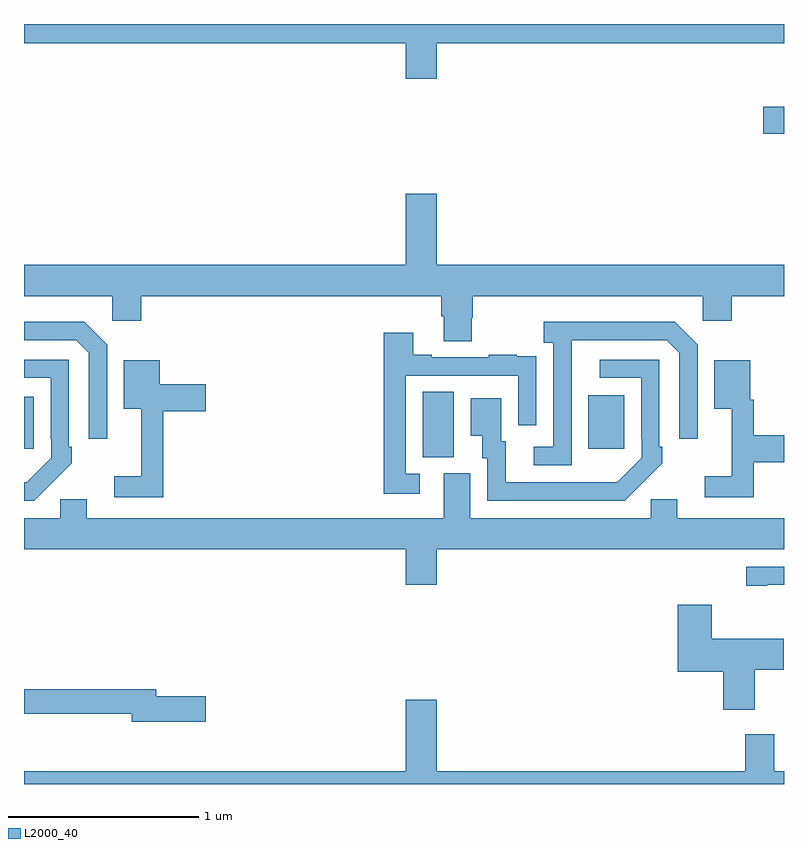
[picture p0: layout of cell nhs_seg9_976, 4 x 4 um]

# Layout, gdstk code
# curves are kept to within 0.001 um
import gdstk
lib = gdstk.Library(unit=1e-6, precision=1e-09)
def R(c, l, rs):  # rectangles x0, y0, x1, y1
    for r in rs: c.add(gdstk.rectangle(r[:2], r[2:], *l))
def P(c, l, *ps):  # polygons
    for p in ps: c.add(gdstk.Polygon(p, *l))
L2000_40 = (2000, 40)

nhs_seg9_976 = lib.new_cell('nhs_seg9_976')
R(nhs_seg9_976, L2000_40, [(165.098,1214.221,165.262,1214.564), (163,1214.265,163.051,1214.539), (165.971,1214.265,166.159,1214.545), (166.89,1215.923,167,1216.065)])
P(nhs_seg9_976, L2000_40, [(165.172,1216.4),(167,1216.4),(167,1216.5),(163,1216.5),(163,1216.4),(165.008,1216.4),(165.008,1216.212),(165.172,1216.212)],
  [(165.357,1214.955),(165.362,1214.955),(165.362,1215.068),(166.572,1215.068),(166.572,1214.937),(166.724,1214.937),(166.724,1215.068),(167,1215.068),(167,1215.232),(165.172,1215.232),(165.172,1215.607),(165.008,1215.607),(165.008,1215.232),(163,1215.232),(163,1215.068),(163.464,1215.068),(163.464,1214.937),(163.616,1214.937),(163.616,1215.068),(165.197,1215.068),(165.197,1214.962),(165.209,1214.962),(165.209,1214.83),(165.357,1214.83)],
  [(163.437,1214.811),(163.316,1214.932),(163,1214.932),(163,1214.835),(163.275,1214.835),(163.341,1214.769),(163.341,1214.316),(163.437,1214.316)],
  [(165.882,1214.835),(166.383,1214.835),(166.449,1214.769),(166.449,1214.316),(166.545,1214.316),(166.545,1214.811),(166.424,1214.932),(165.735,1214.932),(165.735,1214.822),(165.786,1214.822),(165.786,1214.274),(165.684,1214.274),(165.684,1214.178),(165.882,1214.178)],
  [(165.082,1214.133),(165.009,1214.133),(165.009,1214.649),(165.6,1214.649),(165.6,1214.388),(165.696,1214.388),(165.696,1214.642),(165.695,1214.642),(165.695,1214.751),(165.593,1214.751),(165.593,1214.758),(165.445,1214.758),(165.445,1214.745),(165.145,1214.745),(165.145,1214.758),(165.049,1214.758),(165.049,1214.875),(164.893,1214.875),(164.893,1214.028),(165.082,1214.028)],
  [(163.145,1214.083),(163.146,1214.082),(163.251,1214.187),(163.251,1214.275),(163.236,1214.275),(163.236,1214.733),(163,1214.733),(163,1214.637),(163.14,1214.637),(163.14,1214.317),(163.143,1214.317),(163.143,1214.217),(163.015,1214.089),(163,1214.089),(163,1213.992),(163.054,1213.992)],
  [(166.253,1214.083),(166.254,1214.082),(166.359,1214.187),(166.359,1214.275),(166.344,1214.275),(166.344,1214.733),(166.029,1214.733),(166.029,1214.637),(166.248,1214.637),(166.248,1214.317),(166.251,1214.317),(166.251,1214.217),(166.123,1214.089),(165.535,1214.088),(165.535,1214.304),(165.511,1214.304),(165.511,1214.53),(165.35,1214.53),(165.35,1214.333),(165.413,1214.333),(165.413,1214.214),(165.438,1214.214),(165.438,1213.992),(166.162,1213.992)],
  [(166.841,1214.194),(167,1214.194),(167,1214.336),(166.841,1214.336),(166.841,1214.523),(166.822,1214.523),(166.822,1214.731),(166.634,1214.731),(166.634,1214.474),(166.724,1214.474),(166.724,1214.119),(166.584,1214.119),(166.584,1214.01),(166.841,1214.01)],
  [(163.733,1214.462),(163.957,1214.462),(163.957,1214.604),(163.714,1214.604),(163.714,1214.731),(163.526,1214.731),(163.526,1214.474),(163.616,1214.474),(163.616,1214.119),(163.476,1214.119),(163.476,1214.01),(163.733,1214.01)],
  [(165.172,1213.736),(167,1213.736),(167,1213.9),(166.438,1213.9),(166.438,1213.998),(166.299,1213.998),(166.299,1213.9),(165.349,1213.9),(165.349,1214.136),(165.209,1214.136),(165.209,1213.9),(163.33,1213.9),(163.33,1213.998),(163.191,1213.998),(163.191,1213.9),(163,1213.9),(163,1213.736),(165.008,1213.736),(165.008,1213.548),(165.172,1213.548)],
  [(166.912,1213.548),(167,1213.548),(167,1213.644),(166.8,1213.644),(166.8,1213.543),(166.912,1213.543)],
  [(166.846,1213.102),(166.999,1213.102),(166.999,1213.264),(166.62,1213.264),(166.62,1213.444),(166.442,1213.444),(166.442,1213.091),(166.679,1213.091),(166.679,1212.891),(166.846,1212.891)],
  [(163.957,1212.962),(163.696,1212.962),(163.696,1212.998),(163,1212.998),(163,1212.87),(163.568,1212.87),(163.568,1212.827),(163.957,1212.827)],
  [(167,1212.568),(166.948,1212.568),(166.948,1212.763),(166.796,1212.763),(166.796,1212.568),(165.172,1212.568),(165.172,1212.943),(165.008,1212.943),(165.008,1212.568),(163,1212.568),(163,1212.5),(167,1212.5)])

lib.write_gds('nhs_seg9_976.gds')
